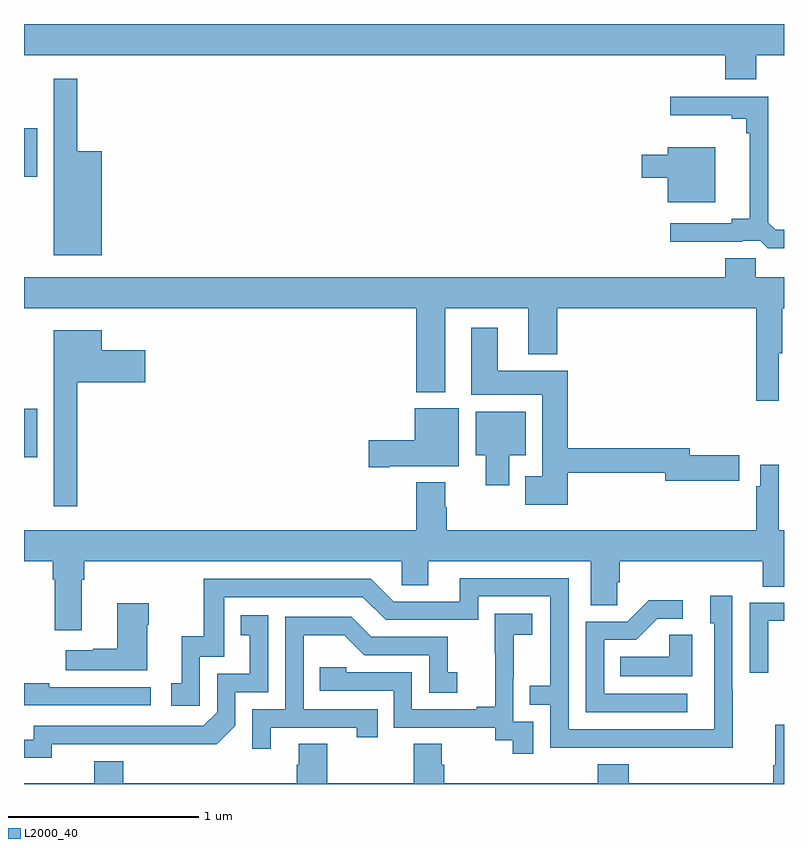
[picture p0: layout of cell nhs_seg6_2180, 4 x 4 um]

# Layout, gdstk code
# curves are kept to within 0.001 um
import gdstk
lib = gdstk.Library(unit=1e-6, precision=1e-09)
def R(c, l, rs):  # rectangles x0, y0, x1, y1
    for r in rs: c.add(gdstk.rectangle(r[:2], r[2:], *l))
def P(c, l, *ps):  # polygons
    for p in ps: c.add(gdstk.Polygon(p, *l))
L2000_40 = (2000, 40)

nhs_seg6_2180 = lib.new_cell('nhs_seg6_2180')
R(nhs_seg6_2180, L2000_40, [(241,945.221,241.069,945.475), (241,946.697,241.069,946.951)])
P(nhs_seg6_2180, L2000_40, [(244.855,947.336),(245,947.336),(245,947.5),(241,947.5),(241,947.336),(244.691,947.336),(244.691,947.208),(244.855,947.208)],
  [(241.408,946.831),(241.279,946.831),(241.279,947.212),(241.157,947.212),(241.157,946.283),(241.408,946.283)],
  [(245,946.416),(244.956,946.416),(244.917,946.455),(244.917,947.118),(244.401,947.118),(244.401,947.021),(244.724,947.021),(244.724,947.002),(244.801,947.002),(244.801,946.925),(244.82,946.925),(244.82,946.475),(244.724,946.475),(244.724,946.452),(244.401,946.452),(244.401,946.355),(244.781,946.355),(244.781,946.359),(244.875,946.359),(244.915,946.32),(245,946.32)],
  [(244.639,946.852),(244.388,946.852),(244.388,946.813),(244.251,946.813),(244.251,946.691),(244.388,946.691),(244.388,946.562),(244.639,946.562)],
  [(244.973,945.768),(244.991,945.768),(244.991,946.004),(245,946.004),(245,946.168),(244.851,946.168),(244.851,946.266),(244.691,946.266),(244.691,946.168),(241,946.168),(241,946.004),(243.065,946.004),(243.065,945.563),(243.217,945.563),(243.217,946.004),(243.653,946.004),(243.653,945.761),(243.806,945.761),(243.806,946.004),(244.855,946.004),(244.855,945.516),(244.973,945.516)],
  [(243.863,945.138),(244.376,945.138),(244.376,945.095),(244.765,945.095),(244.765,945.23),(244.504,945.23),(244.504,945.266),(243.863,945.266),(243.863,945.676),(243.493,945.676),(243.493,945.901),(243.353,945.901),(243.353,945.548),(243.728,945.548),(243.728,945.121),(243.638,945.121),(243.638,944.969),(243.863,944.969)],
  [(241.279,945.614),(241.639,945.614),(241.639,945.784),(241.408,945.784),(241.408,945.889),(241.157,945.889),(241.157,944.961),(241.279,944.961)],
  [(242.926,945.173),(243.289,945.173),(243.289,945.478),(243.056,945.478),(243.056,945.308),(242.814,945.308),(242.814,945.166),(242.926,945.166)],
  [(243.553,945.23),(243.64,945.23),(243.64,945.46),(243.377,945.46),(243.377,945.23),(243.431,945.23),(243.431,945.072),(243.553,945.072)],
  [(241.303,944.576),(241.316,944.576),(241.316,944.672),(242.988,944.672),(242.988,944.545),(243.127,944.545),(243.127,944.672),(243.983,944.672),(243.983,944.44),(244.122,944.44),(244.122,944.563),(244.136,944.563),(244.136,944.672),(244.889,944.672),(244.889,944.539),(245,944.539),(245,944.836),(244.972,944.836),(244.972,945.181),(244.875,945.181),(244.875,945.068),(244.855,945.068),(244.855,944.836),(243.225,944.836),(243.225,944.957),(243.217,944.957),(243.217,945.088),(243.065,945.088),(243.065,944.836),(241,944.836),(241,944.672),(241.151,944.672),(241.151,944.576),(241.163,944.576),(241.163,944.31),(241.303,944.31)],
  [(244.731,943.997),(244.728,943.997),(244.728,944.491),(244.613,944.491),(244.613,944.346),(244.632,944.346),(244.632,943.788),(243.867,943.788),(243.867,944.583),(243.293,944.583),(243.293,944.46),(242.946,944.46),(242.826,944.58),(241.947,944.58),(241.947,944.278),(241.829,944.278),(241.829,944.031),(241.776,944.031),(241.776,943.911),(241.926,943.911),(241.926,944.169),(242.055,944.169),(242.055,944.484),(242.784,944.484),(242.904,944.364),(243.39,944.364),(243.39,944.487),(243.771,944.487),(243.771,944.018),(243.661,944.018),(243.661,943.917),(243.771,943.917),(243.771,943.692),(244.731,943.691)],
  [(244.492,943.974),(244.053,943.974),(244.053,944.259),(244.222,944.259),(244.333,944.37),(244.468,944.37),(244.468,944.468),(244.289,944.468),(244.176,944.355),(243.957,944.355),(243.957,943.878),(244.492,943.878)],
  [(244.917,944.358),(245,944.358),(245,944.454),(244.821,944.454),(244.821,944.085),(244.917,944.085)],
  [(241.648,944.339),(241.656,944.339),(241.656,944.452),(241.49,944.452),(241.49,944.213),(241.364,944.213),(241.364,944.203),(241.221,944.203),(241.221,944.099),(241.648,944.099)],
  [(243.681,943.827),(243.576,943.827),(243.576,944.057),(243.578,944.057),(243.578,944.285),(243.676,944.285),(243.676,944.395),(243.478,944.395),(243.478,944.189),(243.479,944.189),(243.479,943.906),(243.383,943.906),(243.383,943.893),(243.042,943.893),(243.042,944.088),(242.697,944.088),(242.697,944.115),(242.557,944.115),(242.557,943.992),(242.946,943.992),(242.946,943.797),(243.48,943.797),(243.48,943.729),(243.573,943.729),(243.573,943.659),(243.681,943.659)],
  [(241.146,943.71),(242.014,943.709),(242.112,943.806),(242.112,943.983),(242.286,943.983),(242.286,944.389),(242.14,944.389),(242.14,944.283),(242.189,944.283),(242.189,944.079),(242.016,944.079),(242.016,943.878),(241.944,943.806),(241.05,943.806),(241.05,943.734),(241,943.734),(241,943.637),(241.146,943.637)],
  [(242.299,943.797),(242.75,943.797),(242.75,943.746),(242.861,943.746),(242.861,943.893),(242.472,943.893),(242.472,944.282),(242.686,944.282),(242.79,944.178),(243.132,944.178),(243.132,943.98),(243.28,943.98),(243.28,944.089),(243.231,944.089),(243.231,944.274),(242.827,944.274),(242.722,944.379),(242.376,944.379),(242.376,943.893),(242.202,943.893),(242.202,943.686),(242.299,943.686)],
  [(244.516,944.285),(244.395,944.285),(244.395,944.17),(244.138,944.17),(244.138,944.066),(244.516,944.066)],
  [(241.666,944.01),(241.133,944.01),(241.133,944.03),(241,944.03),(241,943.914),(241.666,943.914)],
  [(245,943.813),(244.955,943.813),(244.955,943.6),(244.943,943.6),(244.943,943.504),(244.184,943.504),(244.184,943.603),(244.019,943.603),(244.019,943.504),(243.212,943.504),(243.212,943.602),(243.199,943.602),(243.199,943.712),(243.052,943.712),(243.052,943.504),(242.595,943.504),(242.595,943.712),(242.447,943.712),(242.447,943.602),(242.435,943.602),(242.435,943.504),(241.523,943.504),(241.523,943.621),(241.37,943.621),(241.37,943.504),(241,943.504),(241,943.5),(245,943.5)])

lib.write_gds('nhs_seg6_2180.gds')
